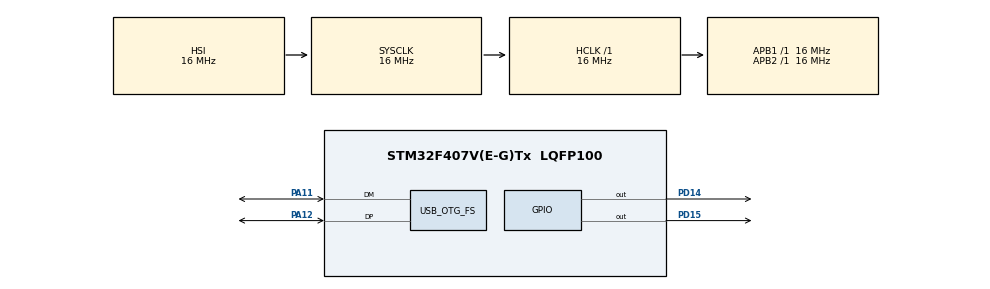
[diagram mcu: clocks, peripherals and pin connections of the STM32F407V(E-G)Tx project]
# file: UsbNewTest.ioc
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Mcu.Family=STM32F4
Mcu.Name=STM32F407V(E-G)Tx
Mcu.Package=LQFP100
NVIC.OTG_FS_IRQn=true\:0\:0\:false\:false\:true\:false\:true\:true
NVIC.PriorityGroup=NVIC_PRIORITYGROUP_4
PA11.Mode=Device_Only
PA11.Signal=USB_OTG_FS_DM
PA12.Mode=Device_Only
PA12.Signal=USB_OTG_FS_DP
PA13.Mode=Serial_Wire
PA13.Signal=SYS_JTMS-SWDIO
PA14.Mode=Serial_Wire
PA14.Signal=SYS_JTCK-SWCLK
PD14.Signal=GPIO_Output
PD15.Signal=GPIO_Output
PH0-OSC_IN.Mode=HSE-External-Oscillator
PH0-OSC_IN.Signal=RCC_OSC_IN
PH1-OSC_OUT.Mode=HSE-External-Oscillator
PH1-OSC_OUT.Signal=RCC_OSC_OUT
ProjectManager.HeapSize=0x1000
ProjectManager.StackSize=0x800
ProjectManager.TargetToolchain=MDK-ARM V5.32
RCC.48MHZClocksFreq_Value=48000000
RCC.AHBFreq_Value=16000000
RCC.APB1Freq_Value=16000000
RCC.APB2Freq_Value=16000000
RCC.CortexFreq_Value=16000000
RCC.HSE_VALUE=8000000
RCC.HSI_VALUE=16000000
RCC.PLLM=8
RCC.PLLN=336
RCC.PLLQ=7
RCC.SYSCLKFreq_VALUE=16000000
RCC.VCOOutputFreq_Value=336000000
USB_DEVICE.CLASS_NAME_FS=CDC
USB_DEVICE.PRODUCT_STRING_CDC_FS=pashachort
USB_DEVICE.VirtualMode-CDC_FS=Cdc
USB_DEVICE.VirtualModeFS=Cdc_FS
USB_OTG_FS.VirtualMode=Device_Only
VP_USB_DEVICE_VS_USB_DEVICE_CDC_FS.Mode=CDC_FS
board=custom

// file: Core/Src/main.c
/* USER CODE BEGIN Header */
/**
  ******************************************************************************
  * @file           : main.c
  * @brief          : Main program body
  ******************************************************************************
  * @attention
  *
  * Copyright (c) 2026 STMicroelectronics.
  * All rights reserved.
  *
  * This software is licensed under terms that can be found in the LICENSE file
  * in the root directory of this software component.
  * If no LICENSE file comes with this software, it is provided AS-IS.
  *
  ******************************************************************************
  */
/* USER CODE END Header */
#include "main.h"
#include "usb_device.h"

/* USER CODE BEGIN Includes */

#include "usbd_cdc_if.h"
#include <string.h>
#include <stdint.h>
#include <stdbool.h>

/* USER CODE END Includes */

/* USER CODE BEGIN PV */
uint8_t myTxData[] = "Pasha i send message \r\n";
extern RingBuffer usb_rx_ring;
uint8_t tx_temp_buf[64];
/* USER CODE END PV */

void SystemClock_Config(void);
static void MX_GPIO_Init(void);
/* USER CODE BEGIN PFP */
uint8_t CDC_IsBusy(void);
/* USER CODE END PFP */

int main(void)
{

  /* MCU Configuration--------------------------------------------------------*/

  /* Reset of all peripherals, Initializes the Flash interface and the Systick. */
  HAL_Init();

  /* Configure the system clock */
  SystemClock_Config();

  /* Initialize all configured peripherals */
  MX_GPIO_Init();
  MX_USB_DEVICE_Init();

  /* Infinite loop */
  /* USER CODE BEGIN WHILE */
  while (1)
  {
/* USER CODE BEGIN WHILE */
while (1)
{
    uint16_t bytes_to_send = Ring_Available(&usb_rx_ring);

    if (bytes_to_send > 0 && !CDC_IsBusy())
    {
        if (bytes_to_send > 64) {
            bytes_to_send = 64;
        }

        // ???????? ????? ?? ??????
        for (uint16_t i = 0; i < bytes_to_send; i++) {
            Ring_Pop(&usb_rx_ring, &tx_temp_buf[i]);
        }

        // ??????????
        CDC_Transmit_FS(tx_temp_buf, bytes_to_send);
    }

    /* USER CODE END WHILE */
}
    /* USER CODE END WHILE */
    /* USER CODE BEGIN 3 */

    /* USER CODE END WHILE */

    /* USER CODE BEGIN 3 */
  }
  /* USER CODE END 3 */
}

void SystemClock_Config(void)
{
  RCC_OscInitTypeDef RCC_OscInitStruct = {0};
  RCC_ClkInitTypeDef RCC_ClkInitStruct = {0};

  /** Configure the main internal regulator output voltage
  */
  __HAL_RCC_PWR_CLK_ENABLE();
  __HAL_PWR_VOLTAGESCALING_CONFIG(PWR_REGULATOR_VOLTAGE_SCALE1);

  /** Initializes the RCC Oscillators according to the specified parameters
  * in the RCC_OscInitTypeDef structure.
  */
  RCC_OscInitStruct.OscillatorType = RCC_OSCILLATORTYPE_HSI|RCC_OSCILLATORTYPE_HSE;
  RCC_OscInitStruct.HSEState = RCC_HSE_ON;
  RCC_OscInitStruct.HSIState = RCC_HSI_ON;
  RCC_OscInitStruct.HSICalibrationValue = RCC_HSICALIBRATION_DEFAULT;
  RCC_OscInitStruct.PLL.PLLState = RCC_PLL_ON;
  RCC_OscInitStruct.PLL.PLLSource = RCC_PLLSOURCE_HSE;
  RCC_OscInitStruct.PLL.PLLM = 8;
  RCC_OscInitStruct.PLL.PLLN = 336;
  RCC_OscInitStruct.PLL.PLLP = RCC_PLLP_DIV2;
  RCC_OscInitStruct.PLL.PLLQ = 7;
  if (HAL_RCC_OscConfig(&RCC_OscInitStruct) != HAL_OK)
  {
    Error_Handler();
  }

  /** Initializes the CPU, AHB and APB buses clocks
  */
  RCC_ClkInitStruct.ClockType = RCC_CLOCKTYPE_HCLK|RCC_CLOCKTYPE_SYSCLK
                              |RCC_CLOCKTYPE_PCLK1|RCC_CLOCKTYPE_PCLK2;
  RCC_ClkInitStruct.SYSCLKSource = RCC_SYSCLKSOURCE_HSI;
  RCC_ClkInitStruct.AHBCLKDivider = RCC_SYSCLK_DIV1;
  RCC_ClkInitStruct.APB1CLKDivider = RCC_HCLK_DIV1;
  RCC_ClkInitStruct.APB2CLKDivider = RCC_HCLK_DIV1;

  if (HAL_RCC_ClockConfig(&RCC_ClkInitStruct, FLASH_LATENCY_0) != HAL_OK)
  {
    Error_Handler();
  }
}

static void MX_GPIO_Init(void)
{
  GPIO_InitTypeDef GPIO_InitStruct = {0};

  /* GPIO Ports Clock Enable */
  __HAL_RCC_GPIOH_CLK_ENABLE();
  __HAL_RCC_GPIOD_CLK_ENABLE();
  __HAL_RCC_GPIOA_CLK_ENABLE();

  /*Configure GPIO pin Output Level */
  HAL_GPIO_WritePin(GPIOD, GPIO_PIN_14|GPIO_PIN_15, GPIO_PIN_RESET);

  /*Configure GPIO pins : PD14 PD15 */
  GPIO_InitStruct.Pin = GPIO_PIN_14|GPIO_PIN_15;
  GPIO_InitStruct.Mode = GPIO_MODE_OUTPUT_PP;
  GPIO_InitStruct.Pull = GPIO_NOPULL;
  GPIO_InitStruct.Speed = GPIO_SPEED_FREQ_LOW;
  HAL_GPIO_Init(GPIOD, &GPIO_InitStruct);

}

void Error_Handler(void)
{
  __disable_irq();
  while (1)
  {
  }
}
